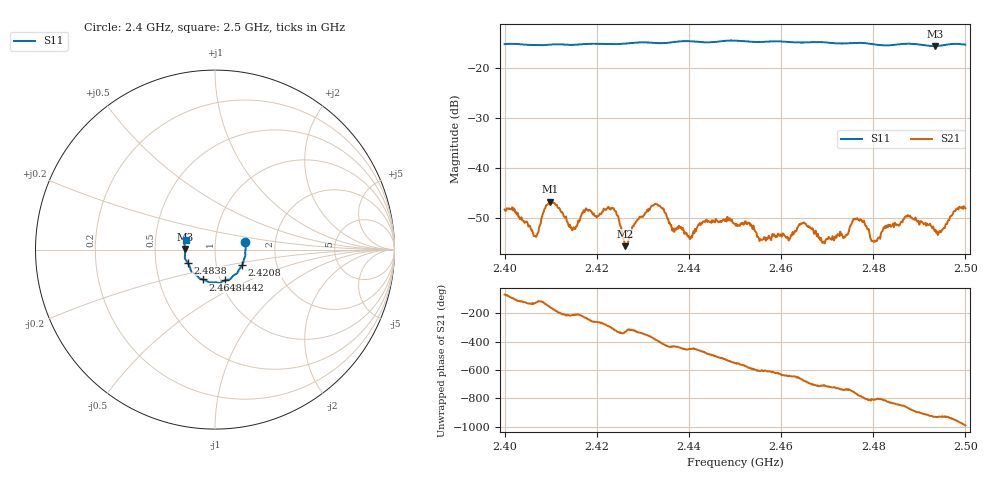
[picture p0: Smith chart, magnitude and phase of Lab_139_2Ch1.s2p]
# Hz S RI R 50
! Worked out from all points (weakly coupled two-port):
!   601 points, 2.4 GHz to 2.5 GHz, reference 50 ohm
!   highest |S21| = -46.77 dB at 2.4098 GHz (marker M1); lowest = -55.6 dB at 2.4262 GHz (marker M2)
!   lowest |S11| = -15.6 dB at 2.4935 GHz (marker M3), VSWR 1.40, Z = 35.8 + j0.202 ohm
!   |S11| at or under -10 dB: start of sweep to end of sweep
!   S12 and S22 are empty: the file has one direction only
!   S11 on the Smith chart (normalised r, x): 2.4 GHz: 1.40, +0.12; 2.4208 GHz: 1.33, -0.24; 2.4442 GHz: 1.05, -0.37; 2.4648 GHz: 0.83, -0.28; 2.4838 GHz: 0.73, -0.11; 2.5 GHz: 0.72, +0.08
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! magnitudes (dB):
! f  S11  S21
! 2.4 GHz  -15.2  -48.3
! 2.4067 GHz  -15.4  -53.6
! 2.4098 GHz  -15.3  -46.8
! 2.4148 GHz  -15.4  -52.3
! 2.4167 GHz  -15.3  -49.4
! 2.4208 GHz  -15.2  -49.3
! 2.4237 GHz  -15.2  -48.1
! 2.4262 GHz  -15.1  -55.6
! 2.4333 GHz  -15.0  -47.6
! 2.4402 GHz  -14.6  -54.2
! 2.4442 GHz  -14.9  -50.6
! 2.45 GHz  -14.5  -51.3
! 2.4557 GHz  -14.8  -54.3
! 2.4648 GHz  -14.9  -51.1
! 2.4667 GHz  -14.8  -52.2
! 2.4693 GHz  -14.9  -54.7
! 2.4768 GHz  -15.0  -50.4
! 2.4802 GHz  -15.3  -54.8
! 2.4833 GHz  -15.5  -51.3
! 2.4838 GHz  -15.4  -51.8
! 2.4935 GHz  -15.6  -52.3
! 2.5 GHz  -15.3  -48.1
